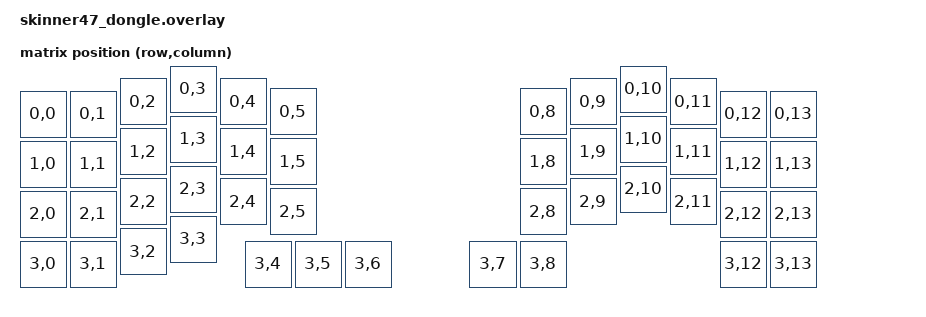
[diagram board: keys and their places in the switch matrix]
#include <dt-bindings/zmk/matrix_transform.h>
#include <physical_layouts.dtsi>
#include <input/processors.dtsi>

/ {
    chosen {
        zmk,kscan = &mock_kscan;
        zmk,physical-layout = &matrix_physical_layout;
    };

    mock_kscan: mock_kscan_0 {
        compatible = "zmk,kscan-mock";
        columns = <0>;
        rows = <0>;
        events = <0>;
    };

    default_transform: keymap_transform_0 {
        compatible = "zmk,matrix-transform";
        columns = <14>;
        rows = <4>;
        map = <
            RC(0,0) RC(0,1) RC(0,2) RC(0,3) RC(0,4) RC(0,5)                 RC(0,8) RC(0,9) RC(0,10) RC(0,11) RC(0,12) RC(0,13)
            RC(1,0) RC(1,1) RC(1,2) RC(1,3) RC(1,4) RC(1,5)                 RC(1,8) RC(1,9) RC(1,10) RC(1,11) RC(1,12) RC(1,13)
            RC(2,0) RC(2,1) RC(2,2) RC(2,3) RC(2,4) RC(2,5)                 RC(2,8) RC(2,9) RC(2,10) RC(2,11) RC(2,12) RC(2,13)
            RC(3,0) RC(3,1) RC(3,2) RC(3,3) RC(3,4) RC(3,5) RC(3,6) RC(3,7) RC(3,8)                           RC(3,12) RC(3,13)
        >;
    };

    matrix_physical_layout: matrix_physical_layout {
        compatible = "zmk,physical-layout";
        display-name = "skinner47";
        transform = <&default_transform>;
        keys
            = <&key_physical_attrs 100 100    0   50       0     0     0>
            , <&key_physical_attrs 100 100  100   50       0     0     0>
            , <&key_physical_attrs 100 100  200   25       0     0     0>
            , <&key_physical_attrs 100 100  300    0       0     0     0>
            , <&key_physical_attrs 100 100  400   25       0     0     0>
            , <&key_physical_attrs 100 100  500   45       0     0     0>
            , <&key_physical_attrs 100 100 1000   45       0     0     0>
            , <&key_physical_attrs 100 100 1100   25       0     0     0>
            , <&key_physical_attrs 100 100 1200    0       0     0     0>
            , <&key_physical_attrs 100 100 1300   25       0     0     0>
            , <&key_physical_attrs 100 100 1400   50       0     0     0>
            , <&key_physical_attrs 100 100 1500   50       0     0     0>
            , <&key_physical_attrs 100 100    0  150       0     0     0>
            , <&key_physical_attrs 100 100  100  150       0     0     0>
            , <&key_physical_attrs 100 100  200  125       0     0     0>
            , <&key_physical_attrs 100 100  300  100       0     0     0>
            , <&key_physical_attrs 100 100  400  125       0     0     0>
            , <&key_physical_attrs 100 100  500  145       0     0     0>
            , <&key_physical_attrs 100 100 1000  145       0     0     0>
            , <&key_physical_attrs 100 100 1100  125       0     0     0>
            , <&key_physical_attrs 100 100 1200  100       0     0     0>
            , <&key_physical_attrs 100 100 1300  125       0     0     0>
            , <&key_physical_attrs 100 100 1400  150       0     0     0>
            , <&key_physical_attrs 100 100 1500  150       0     0     0>
            , <&key_physical_attrs 100 100    0  250       0     0     0>
            , <&key_physical_attrs 100 100  100  250       0     0     0>
            , <&key_physical_attrs 100 100  200  225       0     0     0>
            , <&key_physical_attrs 100 100  300  200       0     0     0>
            , <&key_physical_attrs 100 100  400  225       0     0     0>
            , <&key_physical_attrs 100 100  500  245       0     0     0>
            , <&key_physical_attrs 100 100 1000  245       0     0     0>
            , <&key_physical_attrs 100 100 1100  225       0     0     0>
            , <&key_physical_attrs 100 100 1200  200       0     0     0>
            , <&key_physical_attrs 100 100 1300  225       0     0     0>
            , <&key_physical_attrs 100 100 1400  250       0     0     0>
            , <&key_physical_attrs 100 100 1500  250       0     0     0>
            , <&key_physical_attrs 100 100    0  350       0     0     0>
            , <&key_physical_attrs 100 100  100  350       0     0     0>
            , <&key_physical_attrs 100 100  200  325       0     0     0>
            , <&key_physical_attrs 100 100  300  300       0     0     0>
            , <&key_physical_attrs 100 100  450  350       0     0     0>
            , <&key_physical_attrs 100 100  550  350       0     0     0>
            , <&key_physical_attrs 100 100  650  350       0     0     0>
            , <&key_physical_attrs 100 100  900  350       0     0     0>
            , <&key_physical_attrs 100 100 1000  350       0     0     0>
            , <&key_physical_attrs 100 100 1400  350       0     0     0>
            , <&key_physical_attrs 100 100 1500  350       0     0     0>
            ;
    };

    split_inputs {
        #address-cells = <1>;
        #size-cells = <0>;

        pmw_split: pmw_split@0 {
            compatible = "zmk,input-split";
            reg = <0>;
        };
    };

    pmw_listener: pmw_listener {
        compatible = "zmk,input-listener";
        status = "okay";
        device = <&pmw_split>;

        scroller {
            layers = <10>;
            input-processors = <&zip_xy_scaler 1 32>
                             , <&zip_xy_transform 2>
                             , <&zip_xy_to_scroll_mapper>;
        };

        snipe {
            layers = <11>;
            input-processors = <&zip_xy_scaler 1 3>;
        };
    };
};
